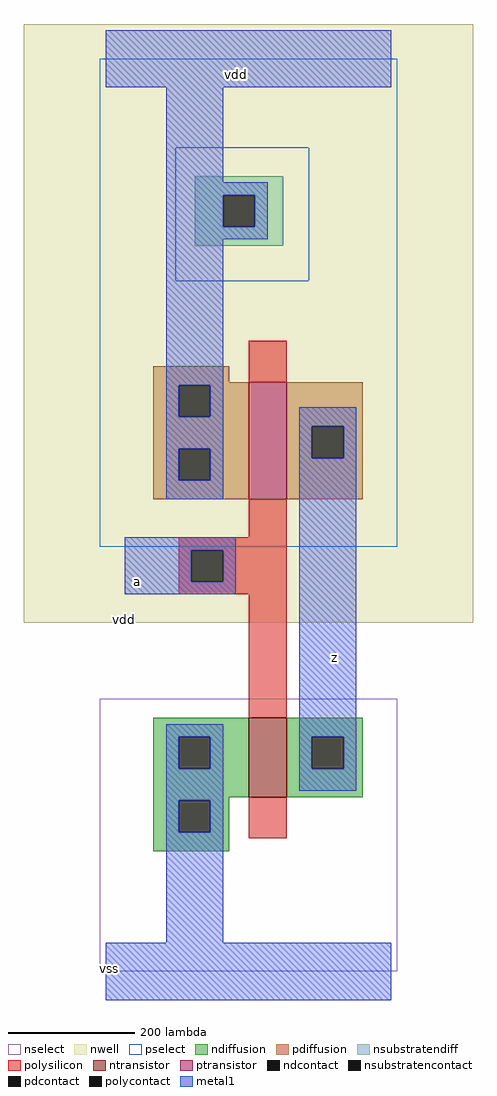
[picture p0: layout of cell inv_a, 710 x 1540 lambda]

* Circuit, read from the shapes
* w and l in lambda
.subckt inv_a z a vdd vss
M1 z a vss VSUBS nfet w=125 l=60
M2 z a vdd vdd pfet w=185 l=60
.ends

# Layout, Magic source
magic
tech amic5n
<< nwell >>
rect -130 550 580 1495
<< ntransistor >>
rect 225 275 285 400
<< ptransistor >>
rect 225 745 285 930
<< nselect >>
rect 110 1090 320 1300
rect -10 0 460 430
<< pselect >>
rect -10 1300 460 1440
rect -10 1090 110 1300
rect 320 1090 460 1300
rect -10 670 460 1090
<< ndiffusion >>
rect 75 370 225 400
rect 75 320 115 370
rect 165 320 225 370
rect 75 275 225 320
rect 285 370 405 400
rect 285 320 325 370
rect 375 320 405 370
rect 285 275 405 320
rect 75 270 195 275
rect 75 220 115 270
rect 165 220 195 270
rect 75 190 195 220
<< pdiffusion >>
rect 75 930 195 955
rect 75 925 225 930
rect 75 875 115 925
rect 165 875 225 925
rect 75 825 225 875
rect 75 775 115 825
rect 165 775 225 825
rect 75 745 225 775
rect 285 860 405 930
rect 285 810 325 860
rect 375 810 405 860
rect 285 745 405 810
<< nsubstratendiff >>
rect 140 1225 280 1255
rect 140 1175 185 1225
rect 235 1175 280 1225
rect 140 1145 280 1175
<< nsubstratencontact >>
rect 185 1175 235 1225
<< ndcontact >>
rect 115 320 165 370
rect 325 320 375 370
rect 115 220 165 270
<< pdcontact >>
rect 115 875 165 925
rect 115 775 165 825
rect 325 810 375 860
<< polysilicon >>
rect 225 930 285 995
rect 225 685 285 745
rect 115 665 285 685
rect 115 615 135 665
rect 185 615 285 665
rect 115 595 285 615
rect 225 400 285 595
rect 225 210 285 275
<< polycontact >>
rect 135 615 185 665
<< metal1 >>
rect 0 1395 450 1485
rect 95 1245 185 1395
rect 95 1225 255 1245
rect 95 1175 185 1225
rect 235 1175 255 1225
rect 95 1155 255 1175
rect 95 925 185 1155
rect 95 875 115 925
rect 165 875 185 925
rect 95 825 185 875
rect 95 775 115 825
rect 165 775 185 825
rect 95 745 185 775
rect 305 860 395 890
rect 305 810 325 860
rect 375 810 395 860
rect 30 665 205 685
rect 30 615 135 665
rect 185 615 205 665
rect 30 595 205 615
rect 95 370 185 390
rect 95 320 115 370
rect 165 320 185 370
rect 95 270 185 320
rect 305 370 395 810
rect 305 320 325 370
rect 375 320 395 370
rect 305 285 395 320
rect 95 220 115 270
rect 165 220 185 270
rect 95 45 185 220
rect 0 -45 450 45
<< labels >>
flabel metal1 s 206 1415 206 1415 2 FreeSans 400 0 0 0 vdd
port 2 ne
flabel metal1 s 361 495 361 495 2 FreeSans 400 0 0 0 z
port 0 ne
flabel metal1 s 50 615 50 615 2 FreeSans 400 0 0 0 a
port 1 ne
flabel nwell 30 555 30 555 2 FreeSans 400 0 0 0 vdd
flabel metal1 s 6 5 6 5 2 FreeSans 400 0 0 0 vss
port 3 ne
<< properties >>
string FIXED_BBOX 0 0 450 1440
string LEFsite core
string LEFclass CORE
string LEFsymmetry X Y
<< end >>
